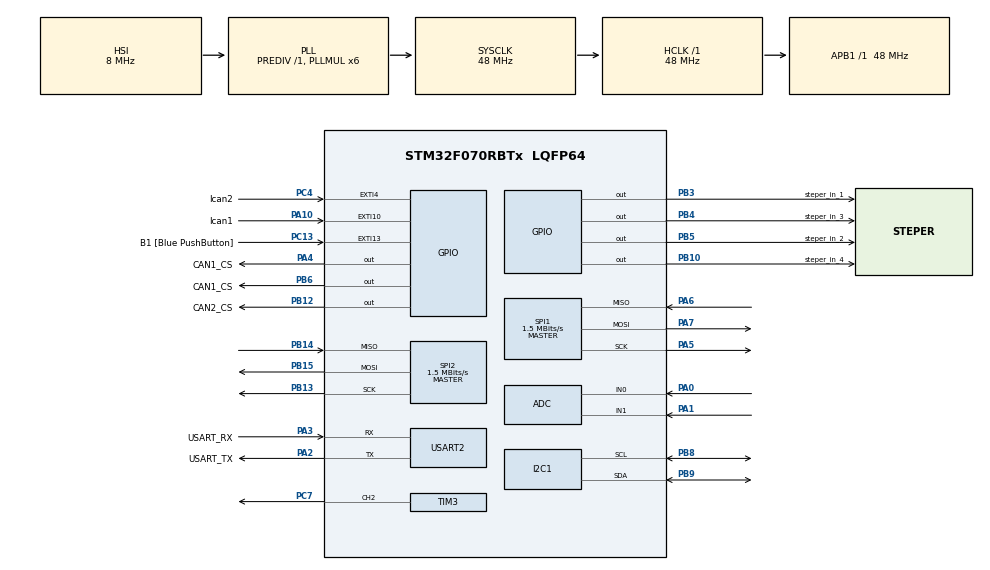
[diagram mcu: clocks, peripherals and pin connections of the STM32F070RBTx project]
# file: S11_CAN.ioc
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ADC.ContinuousConvMode=ENABLE
ADC.SamplingTime=ADC_SAMPLETIME_28CYCLES_5
FREERTOS.BinarySemaphores01=uart_tx_sem,Dynamic,NULL;CAN_sem,Dynamic,NULL
FREERTOS.Queues01=uart_rx_queue,4,uint8_t,0,Dynamic,NULL,NULL
FREERTOS.Tasks01=defaultTask,8,128,StartDefaultTask,Default,NULL,Dynamic,NULL,NULL;uart_rx,32,128,uart_rx_task,Default,NULL,Dynamic,NULL,NULL;adc,24,128,adc_task,Default,NULL,Dynamic,NULL,NULL;stepper,24,128,stepper_task,Default,NULL,Dynamic,NULL,NULL;servo,24,128,servo_Task,Default,NULL,Dynamic,NULL,NULL;enviar_estado,24,128,enviar_estado_Task,Default,NULL,Dynamic,NULL,NULL;enviar_tmp,24,128,enviar_tmp_task,Default,NULL,Dynamic,NULL,NULL;oled,24,128,oled_Task,Default,NULL,Dynamic,NULL,NULL;CAN_remote,24,128,CAN_remote_task,Default,NULL,Dynamic,NULL,NULL
FREERTOS.configTOTAL_HEAP_SIZE=8000
FREERTOS.configUSE_NEWLIB_REENTRANT=1
Mcu.Family=STM32F0
Mcu.Name=STM32F070RBTx
Mcu.Package=LQFP64
NVIC.EXTI4_15_IRQn=true\:3\:0\:false\:false\:true\:true\:true\:true\:true
NVIC.TIM1_BRK_UP_TRG_COM_IRQn=true\:0\:0\:false\:false\:true\:false\:false\:true\:true
NVIC.TimeBase=TIM1_BRK_UP_TRG_COM_IRQn
NVIC.TimeBaseIP=TIM1
NVIC.USART2_IRQn=true\:3\:0\:false\:false\:true\:true\:true\:true\:true
PA0.Mode=IN0
PA0.Signal=ADC_IN0
PA1.Mode=IN1
PA1.Signal=ADC_IN1
PA10.GPIO_Label=Ican1
PA10.GPIO_PuPd=GPIO_PULLDOWN
PA10.Signal=GPXTI10
PA13.GPIO_Label=TMS
PA13.Mode=Serial_Wire
PA13.Signal=SYS_SWDIO
PA14.GPIO_Label=TCK
PA14.Mode=Serial_Wire
PA14.Signal=SYS_SWCLK
PA2.GPIO_Label=USART_TX
PA2.Mode=Asynchronous
PA2.Signal=USART2_TX
PA3.GPIO_Label=USART_RX
PA3.Mode=Asynchronous
PA3.Signal=USART2_RX
PA4.GPIO_Label=CAN1_CS
PA4.Signal=GPIO_Output
PA5.Mode=Full_Duplex_Master
PA5.Signal=SPI1_SCK
PA6.Mode=Full_Duplex_Master
PA6.Signal=SPI1_MISO
PA7.Mode=Full_Duplex_Master
PA7.Signal=SPI1_MOSI
PB10.GPIO_Label=steper_in_4
PB10.Signal=GPIO_Output
PB12.GPIO_Label=CAN2_CS
PB12.Signal=GPIO_Output
PB13.Mode=Full_Duplex_Master
PB13.Signal=SPI2_SCK
PB14.Mode=Full_Duplex_Master
PB14.Signal=SPI2_MISO
PB15.Mode=Full_Duplex_Master
PB15.Signal=SPI2_MOSI
PB3.GPIO_Label=steper_in_1
PB3.Signal=GPIO_Output
PB4.GPIO_Label=steper_in_3
PB4.Signal=GPIO_Output
PB5.GPIO_Label=steper_in_2
PB5.Signal=GPIO_Output
PB6.GPIO_Label=CAN1_CS
PB6.Signal=GPIO_Output
PB8.GPIO_Pu=GPIO_NOPULL
PB8.Mode=I2C
PB8.Signal=I2C1_SCL
PB9.GPIO_Pu=GPIO_NOPULL
PB9.Mode=I2C
PB9.Signal=I2C1_SDA
PC13.GPIO_Label=B1 [Blue PushButton]
PC13.GPIO_ModeDefaultEXTI=GPIO_MODE_IT_FALLING
PC13.Signal=GPXTI13
PC14-OSC32_IN.GPIO_Label=RCC_OSC32_IN
PC14-OSC32_IN.Mode=LSE-External-Oscillator
PC14-OSC32_IN.Signal=RCC_OSC32_IN
PC15-OSC32_OUT.GPIO_Label=RCC_OSC32_OUT
PC15-OSC32_OUT.Mode=LSE-External-Oscillator
PC15-OSC32_OUT.Signal=RCC_OSC32_OUT
PC4.GPIO_Label=Ican2
PC4.GPIO_PuPd=GPIO_PULLDOWN
PC4.Signal=GPXTI4
PC7.Signal=S_TIM3_CH2
PF0-OSC_IN.GPIO_Label=RCC_OSC_IN
PF0-OSC_IN.Mode=HSE-External-Clock-Source
PF0-OSC_IN.Signal=RCC_OSC_IN
PF1-OSC_OUT.GPIO_Label=RCC_OSC_OUT
PF1-OSC_OUT.Signal=RCC_OSC_OUT
ProjectManager.HeapSize=0x200
ProjectManager.StackSize=0x400
ProjectManager.TargetToolchain=STM32CubeIDE
RCC.AHBFreq_Value=48000000
RCC.APB1Freq_Value=48000000
RCC.APB1TimFreq_Value=48000000
RCC.HCLKFreq_Value=48000000
RCC.PLLMUL=RCC_PLL_MUL6
RCC.SYSCLKFreq_VALUE=48000000
RCC.SYSCLKSource=RCC_SYSCLKSOURCE_PLLCLK
SH.S_TIM3_CH2.0=TIM3_CH2,PWM Generation2 CH2
SPI1.BaudRatePrescaler=SPI_BAUDRATEPRESCALER_32
SPI1.CalculateBaudRate=1.5 MBits/s
SPI1.DataSize=SPI_DATASIZE_8BIT
SPI1.Direction=SPI_DIRECTION_2LINES
SPI1.Mode=SPI_MODE_MASTER
SPI1.NSSPMode=SPI_NSS_PULSE_DISABLE
SPI1.VirtualType=VM_MASTER
SPI2.BaudRatePrescaler=SPI_BAUDRATEPRESCALER_32
SPI2.CalculateBaudRate=1.5 MBits/s
SPI2.DataSize=SPI_DATASIZE_8BIT
SPI2.Direction=SPI_DIRECTION_2LINES
SPI2.Mode=SPI_MODE_MASTER
SPI2.NSSPMode=SPI_NSS_PULSE_DISABLE
SPI2.VirtualType=VM_MASTER
TIM3.Channel-PWM\ Generation2\ CH2=TIM_CHANNEL_2
TIM3.Period=19999
TIM3.Prescaler=47
USART2.VirtualMode-Asynchronous=VM_ASYNC
VP_FREERTOS_VS_CMSIS_V2.Mode=CMSIS_V2
VP_SYS_VS_tim1.Mode=TIM1
VP_TIM3_VS_ClockSourceINT.Mode=Internal
board=NUCLEO-F070RB

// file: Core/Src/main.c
/* USER CODE BEGIN Header */
/**
  ******************************************************************************
  * @file           : main.c
  * @brief          : Main program body
  ******************************************************************************
  * @attention
  *
  * <h2><center>&copy; Copyright (c) 2021 STMicroelectronics.
  * All rights reserved.</center></h2>
  *
  * This software component is licensed by ST under BSD 3-Clause license,
  * the "License"; You may not use this file except in compliance with the
  * License. You may obtain a copy of the License at:
  *                        opensource.org/licenses/BSD-3-Clause
  *
  ******************************************************************************
  */
/* USER CODE END Header */
#include "main.h"
#include "cmsis_os.h"

/* USER CODE BEGIN Includes */
#include "stdio.h"
#include "stdbool.h"
#include "ssd1306.h"
#include "CANSPI.h"
/* USER CODE END Includes */

/* USER CODE BEGIN PD */
#define CAN1 &hspi1
#define CAN2 &hspi2
/* USER CODE END PD */

ADC_HandleTypeDef hadc;

I2C_HandleTypeDef hi2c1;

SPI_HandleTypeDef hspi1;
SPI_HandleTypeDef hspi2;

TIM_HandleTypeDef htim3;

UART_HandleTypeDef huart2;

/* Definitions for defaultTask */
osThreadId_t defaultTaskHandle;
const osThreadAttr_t defaultTask_attributes = {
  .name = "defaultTask",
  .stack_size = 128 * 4,
  .priority = (osPriority_t) osPriorityLow,
};
/* Definitions for uart_rx */
osThreadId_t uart_rxHandle;
const osThreadAttr_t uart_rx_attributes = {
  .name = "uart_rx",
  .stack_size = 128 * 4,
  .priority = (osPriority_t) osPriorityAboveNormal,
};
/* Definitions for adc */
osThreadId_t adcHandle;
const osThreadAttr_t adc_attributes = {
  .name = "adc",
  .stack_size = 128 * 4,
  .priority = (osPriority_t) osPriorityNormal,
};
/* Definitions for stepper */
osThreadId_t stepperHandle;
const osThreadAttr_t stepper_attributes = {
  .name = "stepper",
  .stack_size = 128 * 4,
  .priority = (osPriority_t) osPriorityNormal,
};
/* Definitions for servo */
osThreadId_t servoHandle;
const osThreadAttr_t servo_attributes = {
  .name = "servo",
  .stack_size = 128 * 4,
  .priority = (osPriority_t) osPriorityNormal,
};
/* Definitions for enviar_estado */
osThreadId_t enviar_estadoHandle;
const osThreadAttr_t enviar_estado_attributes = {
  .name = "enviar_estado",
  .stack_size = 128 * 4,
  .priority = (osPriority_t) osPriorityNormal,
};
/* Definitions for enviar_tmp */
osThreadId_t enviar_tmpHandle;
const osThreadAttr_t enviar_tmp_attributes = {
  .name = "enviar_tmp",
  .stack_size = 128 * 4,
  .priority = (osPriority_t) osPriorityNormal,
};
/* Definitions for oled */
osThreadId_t oledHandle;
const osThreadAttr_t oled_attributes = {
  .name = "oled",
  .stack_size = 128 * 4,
  .priority = (osPriority_t) osPriorityNormal,
};
/* Definitions for CAN_remote */
osThreadId_t CAN_remoteHandle;
const osThreadAttr_t CAN_remote_attributes = {
  .name = "CAN_remote",
  .stack_size = 128 * 4,
  .priority = (osPriority_t) osPriorityNormal,
};
/* Definitions for uart_rx_queue */
osMessageQueueId_t uart_rx_queueHandle;
const osMessageQueueAttr_t uart_rx_queue_attributes = {
  .name = "uart_rx_queue"
};
/* Definitions for uart_tx_sem */
osSemaphoreId_t uart_tx_semHandle;
const osSemaphoreAttr_t uart_tx_sem_attributes = {
  .name = "uart_tx_sem"
};
/* Definitions for CAN_sem */
osSemaphoreId_t CAN_semHandle;
const osSemaphoreAttr_t CAN_sem_attributes = {
  .name = "CAN_sem"
};
/* USER CODE BEGIN PV */
uint8_t rx_data;
uCAN_MSG txMessage;
uCAN_MSG rxMessage;
bool enable_CAN = false;

/* USER CODE END PV */

void SystemClock_Config(void);
static void MX_GPIO_Init(void);
static void MX_USART2_UART_Init(void);
static void MX_ADC_Init(void);
static void MX_I2C1_Init(void);
static void MX_SPI1_Init(void);
static void MX_SPI2_Init(void);
static void MX_TIM3_Init(void);
void StartDefaultTask(void *argument);
void uart_rx_task(void *argument);
void adc_task(void *argument);
void stepper_task(void *argument);
void servo_Task(void *argument);
void enviar_estado_Task(void *argument);
void enviar_tmp_task(void *argument);
void oled_Task(void *argument);
void CAN_remote_task(void *argument);

int main(void)
{
  /* USER CODE BEGIN 1 */
  uint8_t tx_buffer[21];
  /* USER CODE END 1 */

  /* MCU Configuration--------------------------------------------------------*/

  /* Reset of all peripherals, Initializes the Flash interface and the Systick. */
  HAL_Init();

  /* Configure the system clock */
  SystemClock_Config();

  /* Initialize all configured peripherals */
  MX_GPIO_Init();
  MX_USART2_UART_Init();
  MX_ADC_Init();
  MX_I2C1_Init();
  MX_SPI1_Init();
  MX_SPI2_Init();
  MX_TIM3_Init();

  /* Init scheduler */
  osKernelInitialize();

  /* Create the semaphores(s) */
  /* creation of uart_tx_sem */
  uart_tx_semHandle = osSemaphoreNew(1, 1, &uart_tx_sem_attributes);

  /* creation of CAN_sem */
  CAN_semHandle = osSemaphoreNew(1, 1, &CAN_sem_attributes);

  /* Create the queue(s) */
  /* creation of uart_rx_queue */
  uart_rx_queueHandle = osMessageQueueNew (4, sizeof(uint8_t), &uart_rx_queue_attributes);

  /* Create the thread(s) */
  /* creation of defaultTask */
  defaultTaskHandle = osThreadNew(StartDefaultTask, NULL, &defaultTask_attributes);

  /* creation of uart_rx */
  uart_rxHandle = osThreadNew(uart_rx_task, NULL, &uart_rx_attributes);

  /* creation of adc */
  adcHandle = osThreadNew(adc_task, NULL, &adc_attributes);

  /* creation of stepper */
  stepperHandle = osThreadNew(stepper_task, NULL, &stepper_attributes);

  /* creation of servo */
  servoHandle = osThreadNew(servo_Task, NULL, &servo_attributes);

  /* creation of enviar_estado */
  enviar_estadoHandle = osThreadNew(enviar_estado_Task, NULL, &enviar_estado_attributes);

  /* creation of enviar_tmp */
  enviar_tmpHandle = osThreadNew(enviar_tmp_task, NULL, &enviar_tmp_attributes);

  /* creation of oled */
  oledHandle = osThreadNew(oled_Task, NULL, &oled_attributes);

  /* creation of CAN_remote */
  CAN_remoteHandle = osThreadNew(CAN_remote_task, NULL, &CAN_remote_attributes);

  /* USER CODE BEGIN RTOS_THREADS */
  /* add threads, ... */
	osThreadSuspend(enviar_tmpHandle);
	osThreadSuspend(stepperHandle);
	osThreadSuspend(oledHandle);
	//vTaskSuspend(CAN_remoteHandle);

  /* USER CODE END RTOS_THREADS */

  /* Start scheduler */
  osKernelStart();

  /* We should never get here as control is now taken by the scheduler */
  /* Infinite loop */
  while (1)
  {

  }
}

void SystemClock_Config(void)
{
  RCC_OscInitTypeDef RCC_OscInitStruct = {0};
  RCC_ClkInitTypeDef RCC_ClkInitStruct = {0};
  RCC_PeriphCLKInitTypeDef PeriphClkInit = {0};

  /** Initializes the RCC Oscillators according to the specified parameters
  * in the RCC_OscInitTypeDef structure.
  */
  RCC_OscInitStruct.OscillatorType = RCC_OSCILLATORTYPE_HSI|RCC_OSCILLATORTYPE_HSI14;
  RCC_OscInitStruct.HSIState = RCC_HSI_ON;
  RCC_OscInitStruct.HSI14State = RCC_HSI14_ON;
  RCC_OscInitStruct.HSICalibrationValue = RCC_HSICALIBRATION_DEFAULT;
  RCC_OscInitStruct.HSI14CalibrationValue = 16;
  RCC_OscInitStruct.PLL.PLLState = RCC_PLL_ON;
  RCC_OscInitStruct.PLL.PLLSource = RCC_PLLSOURCE_HSI;
  RCC_OscInitStruct.PLL.PLLMUL = RCC_PLL_MUL6;
  RCC_OscInitStruct.PLL.PREDIV = RCC_PREDIV_DIV1;
  if (HAL_RCC_OscConfig(&RCC_OscInitStruct) != HAL_OK)
  {
    Error_Handler();
  }

  /** Initializes the CPU, AHB and APB buses clocks
  */
  RCC_ClkInitStruct.ClockType = RCC_CLOCKTYPE_HCLK|RCC_CLOCKTYPE_SYSCLK
                              |RCC_CLOCKTYPE_PCLK1;
  RCC_ClkInitStruct.SYSCLKSource = RCC_SYSCLKSOURCE_PLLCLK;
  RCC_ClkInitStruct.AHBCLKDivider = RCC_SYSCLK_DIV1;
  RCC_ClkInitStruct.APB1CLKDivider = RCC_HCLK_DIV1;

  if (HAL_RCC_ClockConfig(&RCC_ClkInitStruct, FLASH_LATENCY_1) != HAL_OK)
  {
    Error_Handler();
  }
  PeriphClkInit.PeriphClockSelection = RCC_PERIPHCLK_I2C1;
  PeriphClkInit.I2c1ClockSelection = RCC_I2C1CLKSOURCE_HSI;
  if (HAL_RCCEx_PeriphCLKConfig(&PeriphClkInit) != HAL_OK)
  {
    Error_Handler();
  }
}

static void MX_ADC_Init(void)
{

  ADC_ChannelConfTypeDef sConfig = {0};

  /** Configure the global features of the ADC (Clock, Resolution, Data Alignment and number of conversion)
  */
  hadc.Instance = ADC1;
  hadc.Init.ClockPrescaler = ADC_CLOCK_ASYNC_DIV1;
  hadc.Init.Resolution = ADC_RESOLUTION_12B;
  hadc.Init.DataAlign = ADC_DATAALIGN_RIGHT;
  hadc.Init.ScanConvMode = ADC_SCAN_DIRECTION_FORWARD;
  hadc.Init.EOCSelection = ADC_EOC_SINGLE_CONV;
  hadc.Init.LowPowerAutoWait = DISABLE;
  hadc.Init.LowPowerAutoPowerOff = DISABLE;
  hadc.Init.ContinuousConvMode = ENABLE;
  hadc.Init.DiscontinuousConvMode = DISABLE;
  hadc.Init.ExternalTrigConv = ADC_SOFTWARE_START;
  hadc.Init.ExternalTrigConvEdge = ADC_EXTERNALTRIGCONVEDGE_NONE;
  hadc.Init.DMAContinuousRequests = DISABLE;
  hadc.Init.Overrun = ADC_OVR_DATA_PRESERVED;
  if (HAL_ADC_Init(&hadc) != HAL_OK)
  {
    Error_Handler();
  }

  /** Configure for the selected ADC regular channel to be converted.
  */
  sConfig.Channel = ADC_CHANNEL_0;
  sConfig.Rank = ADC_RANK_CHANNEL_NUMBER;
  sConfig.SamplingTime = ADC_SAMPLETIME_28CYCLES_5;
  if (HAL_ADC_ConfigChannel(&hadc, &sConfig) != HAL_OK)
  {
    Error_Handler();
  }

  /** Configure for the selected ADC regular channel to be converted.
  */
  sConfig.Channel = ADC_CHANNEL_1;
  if (HAL_ADC_ConfigChannel(&hadc, &sConfig) != HAL_OK)
  {
    Error_Handler();
  }

}

static void MX_I2C1_Init(void)
{

  hi2c1.Instance = I2C1;
  hi2c1.Init.Timing = 0x2000090E;
  hi2c1.Init.OwnAddress1 = 0;
  hi2c1.Init.AddressingMode = I2C_ADDRESSINGMODE_7BIT;
  hi2c1.Init.DualAddressMode = I2C_DUALADDRESS_DISABLE;
  hi2c1.Init.OwnAddress2 = 0;
  hi2c1.Init.OwnAddress2Masks = I2C_OA2_NOMASK;
  hi2c1.Init.GeneralCallMode = I2C_GENERALCALL_DISABLE;
  hi2c1.Init.NoStretchMode = I2C_NOSTRETCH_DISABLE;
  if (HAL_I2C_Init(&hi2c1) != HAL_OK)
  {
    Error_Handler();
  }

  /** Configure Analogue filter
  */
  if (HAL_I2CEx_ConfigAnalogFilter(&hi2c1, I2C_ANALOGFILTER_ENABLE) != HAL_OK)
  {
    Error_Handler();
  }

  /** Configure Digital filter
  */
  if (HAL_I2CEx_ConfigDigitalFilter(&hi2c1, 0) != HAL_OK)
  {
    Error_Handler();
  }

}

static void MX_SPI1_Init(void)
{

  /* SPI1 parameter configuration*/
  hspi1.Instance = SPI1;
  hspi1.Init.Mode = SPI_MODE_MASTER;
  hspi1.Init.Direction = SPI_DIRECTION_2LINES;
  hspi1.Init.DataSize = SPI_DATASIZE_8BIT;
  hspi1.Init.CLKPolarity = SPI_POLARITY_LOW;
  hspi1.Init.CLKPhase = SPI_PHASE_1EDGE;
  hspi1.Init.NSS = SPI_NSS_SOFT;
  hspi1.Init.BaudRatePrescaler = SPI_BAUDRATEPRESCALER_32;
  hspi1.Init.FirstBit = SPI_FIRSTBIT_MSB;
  hspi1.Init.TIMode = SPI_TIMODE_DISABLE;
  hspi1.Init.CRCCalculation = SPI_CRCCALCULATION_DISABLE;
  hspi1.Init.CRCPolynomial = 7;
  hspi1.Init.CRCLength = SPI_CRC_LENGTH_DATASIZE;
  hspi1.Init.NSSPMode = SPI_NSS_PULSE_DISABLE;
  if (HAL_SPI_Init(&hspi1) != HAL_OK)
  {
    Error_Handler();
  }

}

static void MX_SPI2_Init(void)
{

  /* SPI2 parameter configuration*/
  hspi2.Instance = SPI2;
  hspi2.Init.Mode = SPI_MODE_MASTER;
  hspi2.Init.Direction = SPI_DIRECTION_2LINES;
  hspi2.Init.DataSize = SPI_DATASIZE_8BIT;
  hspi2.Init.CLKPolarity = SPI_POLARITY_LOW;
  hspi2.Init.CLKPhase = SPI_PHASE_1EDGE;
  hspi2.Init.NSS = SPI_NSS_SOFT;
  hspi2.Init.BaudRatePrescaler = SPI_BAUDRATEPRESCALER_32;
  hspi2.Init.FirstBit = SPI_FIRSTBIT_MSB;
  hspi2.Init.TIMode = SPI_TIMODE_DISABLE;
  hspi2.Init.CRCCalculation = SPI_CRCCALCULATION_DISABLE;
  hspi2.Init.CRCPolynomial = 7;
  hspi2.Init.CRCLength = SPI_CRC_LENGTH_DATASIZE;
  hspi2.Init.NSSPMode = SPI_NSS_PULSE_DISABLE;
  if (HAL_SPI_Init(&hspi2) != HAL_OK)
  {
    Error_Handler();
  }

}

static void MX_TIM3_Init(void)
{

  TIM_ClockConfigTypeDef sClockSourceConfig = {0};
  TIM_MasterConfigTypeDef sMasterConfig = {0};
  TIM_OC_InitTypeDef sConfigOC = {0};

  htim3.Instance = TIM3;
  htim3.Init.Prescaler = 47;
  htim3.Init.CounterMode = TIM_COUNTERMODE_UP;
  htim3.Init.Period = 19999;
  htim3.Init.ClockDivision = TIM_CLOCKDIVISION_DIV1;
  htim3.Init.AutoReloadPreload = TIM_AUTORELOAD_PRELOAD_DISABLE;
  if (HAL_TIM_Base_Init(&htim3) != HAL_OK)
  {
    Error_Handler();
  }
  sClockSourceConfig.ClockSource = TIM_CLOCKSOURCE_INTERNAL;
  if (HAL_TIM_ConfigClockSource(&htim3, &sClockSourceConfig) != HAL_OK)
  {
    Error_Handler();
  }
  if (HAL_TIM_PWM_Init(&htim3) != HAL_OK)
  {
    Error_Handler();
  }
  sMasterConfig.MasterOutputTrigger = TIM_TRGO_RESET;
  sMasterConfig.MasterSlaveMode = TIM_MASTERSLAVEMODE_DISABLE;
  if (HAL_TIMEx_MasterConfigSynchronization(&htim3, &sMasterConfig) != HAL_OK)
  {
    Error_Handler();
  }
  sConfigOC.OCMode = TIM_OCMODE_PWM1;
  sConfigOC.Pulse = 0;
  sConfigOC.OCPolarity = TIM_OCPOLARITY_HIGH;
  sConfigOC.OCFastMode = TIM_OCFAST_DISABLE;
  if (HAL_TIM_PWM_ConfigChannel(&htim3, &sConfigOC, TIM_CHANNEL_2) != HAL_OK)
  {
    Error_Handler();
  }
  HAL_TIM_MspPostInit(&htim3);

}

static void MX_USART2_UART_Init(void)
{

  huart2.Instance = USART2;
  huart2.Init.BaudRate = 38400;
  huart2.Init.WordLength = UART_WORDLENGTH_8B;
  huart2.Init.StopBits = UART_STOPBITS_1;
  huart2.Init.Parity = UART_PARITY_NONE;
  huart2.Init.Mode = UART_MODE_TX_RX;
  huart2.Init.HwFlowCtl = UART_HWCONTROL_NONE;
  huart2.Init.OverSampling = UART_OVERSAMPLING_16;
  huart2.Init.OneBitSampling = UART_ONE_BIT_SAMPLE_DISABLE;
  huart2.AdvancedInit.AdvFeatureInit = UART_ADVFEATURE_NO_INIT;
  if (HAL_UART_Init(&huart2) != HAL_OK)
  {
    Error_Handler();
  }

}

static void MX_GPIO_Init(void)
{
  GPIO_InitTypeDef GPIO_InitStruct = {0};

  /* GPIO Ports Clock Enable */
  __HAL_RCC_GPIOC_CLK_ENABLE();
  __HAL_RCC_GPIOF_CLK_ENABLE();
  __HAL_RCC_GPIOA_CLK_ENABLE();
  __HAL_RCC_GPIOB_CLK_ENABLE();

  /*Configure GPIO pin Output Level */
  HAL_GPIO_WritePin(CAN1_CS_GPIO_Port, CAN1_CS_Pin, GPIO_PIN_RESET);

  /*Configure GPIO pin Output Level */
  HAL_GPIO_WritePin(GPIOB, steper_in_4_Pin|CAN2_CS_Pin|steper_in_1_Pin|steper_in_3_Pin
                          |steper_in_2_Pin|CAN1_CSB6_Pin, GPIO_PIN_RESET);

  /*Configure GPIO pin : B1_Pin */
  GPIO_InitStruct.Pin = B1_Pin;
  GPIO_InitStruct.Mode = GPIO_MODE_IT_FALLING;
  GPIO_InitStruct.Pull = GPIO_NOPULL;
  HAL_GPIO_Init(B1_GPIO_Port, &GPIO_InitStruct);

  /*Configure GPIO pin : CAN1_CS_Pin */
  GPIO_InitStruct.Pin = CAN1_CS_Pin;
  GPIO_InitStruct.Mode = GPIO_MODE_OUTPUT_PP;
  GPIO_InitStruct.Pull = GPIO_NOPULL;
  GPIO_InitStruct.Speed = GPIO_SPEED_FREQ_LOW;
  HAL_GPIO_Init(CAN1_CS_GPIO_Port, &GPIO_InitStruct);

  /*Configure GPIO pin : Ican2_Pin */
  GPIO_InitStruct.Pin = Ican2_Pin;
  GPIO_InitStruct.Mode = GPIO_MODE_IT_RISING;
  GPIO_InitStruct.Pull = GPIO_PULLDOWN;
  HAL_GPIO_Init(Ican2_GPIO_Port, &GPIO_InitStruct);

  /*Configure GPIO pins : steper_in_4_Pin CAN2_CS_Pin steper_in_1_Pin steper_in_3_Pin
                           steper_in_2_Pin CAN1_CSB6_Pin */
  GPIO_InitStruct.Pin = steper_in_4_Pin|CAN2_CS_Pin|steper_in_1_Pin|steper_in_3_Pin
                          |steper_in_2_Pin|CAN1_CSB6_Pin;
  GPIO_InitStruct.Mode = GPIO_MODE_OUTPUT_PP;
  GPIO_InitStruct.Pull = GPIO_NOPULL;
  GPIO_InitStruct.Speed = GPIO_SPEED_FREQ_LOW;
  HAL_GPIO_Init(GPIOB, &GPIO_InitStruct);

  /*Configure GPIO pin : Ican1_Pin */
  GPIO_InitStruct.Pin = Ican1_Pin;
  GPIO_InitStruct.Mode = GPIO_MODE_IT_RISING;
  GPIO_InitStruct.Pull = GPIO_PULLDOWN;
  HAL_GPIO_Init(Ican1_GPIO_Port, &GPIO_InitStruct);

  /* EXTI interrupt init*/
  HAL_NVIC_SetPriority(EXTI4_15_IRQn, 3, 0);
  HAL_NVIC_EnableIRQ(EXTI4_15_IRQn);

}

/* USER CODE BEGIN 4 */
void HAL_UART_TxCpltCallback(UART_HandleTypeDef *huart) {
	BaseType_t priority;
	osSemaphoreRelease(uart_tx_semHandle); //, &priority);
	portYIELD_FROM_ISR(priority);
}

void HAL_UART_RxCpltCallback(UART_HandleTypeDef *huart) {
	BaseType_t priority;
	osMessageQueuePut(uart_rx_queueHandle, &rx_data, 0U, 0U);
	HAL_UART_Receive_IT(&huart2, &rx_data, sizeof(rx_data));
	portYIELD_FROM_ISR(priority);
}

void HAL_GPIO_EXTI_Callback(uint16_t GPIO_Pin)
{
	BaseType_t priority;
	if (GPIO_Pin == Ican1_Pin || GPIO_Pin==Ican2_Pin) {
		osSemaphoreRelease(CAN_semHandle); //, &priority);
		portYIELD_FROM_ISR(priority);
	}
}

/* USER CODE END 4 */

void StartDefaultTask(void *argument)
{
  for(;;)
  {
    osDelay(1);
  }
}

void uart_rx_task(void *argument)
{
  /* USER CODE BEGIN uart_rx_task */
	/* Infinite loop */
	for (;;) {
		osDelay(100);
	}
  /* USER CODE END uart_rx_task */
}

void adc_task(void *argument)
{
  /* USER CODE BEGIN adc_task */
	/* Infinite loop */
	for (;;) {
		osDelay(100);
	}
  /* USER CODE END adc_task */
}

void stepper_task(void *argument)
{
  /* USER CODE BEGIN stepper_task */
	/* Infinite loop */
	for (;;) {
		osDelay(100);
	}
  /* USER CODE END stepper_task */
}

void servo_Task(void *argument)
{
  /* USER CODE BEGIN servo_Task */
	/* Infinite loop */
	for (;;) {
		osDelay(100);
	}
  /* USER CODE END servo_Task */
}

void enviar_estado_Task(void *argument)
{
  /* USER CODE BEGIN enviar_estado_Task */
	/* Infinite loop */
	for (;;) {
		osDelay(100);
	}
  /* USER CODE END enviar_estado_Task */
}

void enviar_tmp_task(void *argument)
{
  /* USER CODE BEGIN enviar_tmp_task */
	/* Infinite loop */
	for (;;) {
		osDelay(100);
	}
  /* USER CODE END enviar_tmp_task */
}

void oled_Task(void *argument)
{
  /* USER CODE BEGIN oled_Task */
	/* Infinite loop */
	for (;;) {
		osDelay(100);
	}
  /* USER CODE END oled_Task */
}

void CAN_remote_task(void *argument)
{
  /* USER CODE BEGIN CAN_remote_task */
	uint8_t tx_buffer[49], i=0;

	  if( CANSPI_Initialize(CAN1)) {
			osSemaphoreAcquire(uart_tx_semHandle, portMAX_DELAY);
			sprintf(tx_buffer, "CAN1 initialized OK\n\r");
			HAL_UART_Transmit_IT(&huart2, tx_buffer, sizeof(tx_buffer));
			dSTANDARD_CAN_MSG_ID_2_0B;
					    	txMessage.frame.id = 15;
					    	txMessage.frame.dlc = 8;
					    	txMessage.frame.data0 = 1;
					    	txMessage.frame.data1 = 2;
					    	txMessage.frame.data2 = 3;
					    	txMessage.frame.data3 = 4;
					    	txMessage.frame.data4 = 5;
					    	txMessage.frame.data5 = 6;
					    	txMessage.frame.data6 = 7;
					    	txMessage.frame.data7 = 8;
					    	CANSPI_Transmit(CAN1, &txMessage);
							osSemaphoreAcquire(uart_tx_semHandle, portMAX_DELAY);
							sprintf(tx_buffer, "CAN1 sending Msg...\n\r");
							HAL_UART_Transmit_IT(&huart2, tx_buffer, sizeof(tx_buffer));
	  }
	  else
	  {
			osSemaphoreAcquire(uart_tx_semHandle, portMAX_DELAY);
			sprintf(tx_buffer, "Error CAN1 initiali\n\r");
			HAL_UART_Transmit_IT(&huart2, tx_buffer, sizeof(tx_buffer));
	  }
	  if (CANSPI_Initialize(CAN2)) {
			osSemaphoreAcquire(uart_tx_semHandle, portMAX_DELAY);
			sprintf(tx_buffer, "CAN2 initialized OK\n\r");
			HAL_UART_Transmit_IT(&huart2, tx_buffer, sizeof(tx_buffer));
			dSTANDARD_CAN_MSG_ID_2_0B;
					    	txMessage.frame.id = 25;
					    	txMessage.frame.dlc = 8;
					    	txMessage.frame.data0 = 8;
					    	txMessage.frame.data1 = 7;
					    	txMessage.frame.data2 = 6;
					    	txMessage.frame.data3 = 5;
					    	txMessage.frame.data4 = 4;
					    	txMessage.frame.data5 = 3;
					    	txMessage.frame.data6 = 2;
					    	txMessage.frame.data7 = 1;
					    	CANSPI_Transmit(CAN2, &txMessage);
							osSemaphoreAcquire(uart_tx_semHandle, portMAX_DELAY);
							sprintf(tx_buffer, "CAN2 sending Msg...\n\r");
							HAL_UART_Transmit_IT(&huart2, tx_buffer, sizeof(tx_buffer));
	  }
	  else
	  {
			osSemaphoreAcquire(uart_tx_semHandle, portMAX_DELAY);
			sprintf(tx_buffer, "Error CAN2 initiali\n\r");
			HAL_UART_Transmit_IT(&huart2, tx_buffer, sizeof(tx_buffer));

	  }

	  /* Infinite loop */
	  for(;;)
	  {
			osSemaphoreAcquire(CAN_semHandle, portMAX_DELAY);
		    if(CANSPI_Receive(CAN1, &rxMessage))
		    {
				// Coger el semáforo de envío de trama por la UART
				osSemaphoreAcquire(uart_tx_semHandle, portMAX_DELAY);
				sprintf(tx_buffer, "CAN1 RX: id= %2d, dlc= %1d, datos= %1d,%1d,%1d,%1d,%1d,%1d,%1d,%1d\n\r",
						rxMessage.frame.id, rxMessage.frame.dlc,rxMessage.frame.data0,rxMessage.frame.data1,
						rxMessage.frame.data2,rxMessage.frame.data3,rxMessage.frame.data4,rxMessage.frame.data5,
						rxMessage.frame.data6,rxMessage.frame.data7);
				HAL_UART_Transmit_IT(&huart2, tx_buffer, sizeof(tx_buffer));
				CANSPI_CL_Flag_Int(CAN1);
		    	txMessage.frame.idType = dSTANDARD_CAN_MSG_ID_2_0B;
		    	txMessage.frame.id = 15;
		    	txMessage.frame.dlc = 8;
		    	txMessage.frame.data0 = 1;
		    	txMessage.frame.data1 = 2;
		    	txMessage.frame.data2 = 3;
		    	txMessage.frame.data3 = 4;
		    	txMessage.frame.data4 = 5;
		    	txMessage.frame.data5 = 6;
		    	txMessage.frame.data6 = 7;
		    	txMessage.frame.data7 = 8;
		    	CANSPI_Transmit(CAN1, &txMessage);
				osSemaphoreAcquire(uart_tx_semHandle, portMAX_DELAY);
		    	for (i=0; i<49; i++) tx_buffer[i]=0;
				sprintf(tx_buffer, "CAN1 sending Msg...\n\r");
				HAL_UART_Transmit_IT(&huart2, tx_buffer, sizeof(tx_buffer));
		    } else
		    if(CANSPI_Receive(CAN2, &rxMessage))
		    {
				// Coger el semáforo de envío de trama por la UART
				osSemaphoreAcquire(uart_tx_semHandle, portMAX_DELAY);
				sprintf(tx_buffer, "CAN2 RX: id= %2d, dlc= %1d, datos= %1d,%1d,%1d,%1d,%1d,%1d,%1d,%1d\n\r",
						rxMessage.frame.id, rxMessage.frame.dlc,rxMessage.frame.data0,rxMessage.frame.data1,
						rxMessage.frame.data2,rxMessage.frame.data3,rxMessage.frame.data4,rxMessage.frame.data5,
						rxMessage.frame.data6,rxMessage.frame.data7);
				HAL_UART_Transmit_IT(&huart2, tx_buffer, sizeof(tx_buffer));
				CANSPI_CL_Flag_Int(CAN2);
		    	txMessage.frame.idType = dSTANDARD_CAN_MSG_ID_2_0B;
		    	txMessage.frame.id = 25;
		    	txMessage.frame.dlc = 8;
		    	txMessage.frame.data0 = 8;
		    	txMessage.frame.data1 = 7;
		    	txMessage.frame.data2 = 6;
		    	txMessage.frame.data3 = 5;
		    	txMessage.frame.data4 = 4;
		    	txMessage.frame.data5 = 3;
		    	txMessage.frame.data6 = 2;
		    	txMessage.frame.data7 = 1;
		    	CANSPI_Transmit(CAN2, &txMessage);
				osSemaphoreAcquire(uart_tx_semHandle, portMAX_DELAY);
		    	for (i=0; i<49; i++) tx_buffer[i]=0;
				sprintf(tx_buffer, "CAN2 sending Msg...\n\r");
				HAL_UART_Transmit_IT(&huart2, tx_buffer, sizeof(tx_buffer));
		    }
		    osDelay(1000);
	  }
  /* USER CODE END CAN_remote_task */
}

void HAL_TIM_PeriodElapsedCallback(TIM_HandleTypeDef *htim)
{
  if (htim->Instance == TIM1) {
    HAL_IncTick();
  }
}

void Error_Handler(void)
{
  __disable_irq();
  while (1)
  {
  }
}
